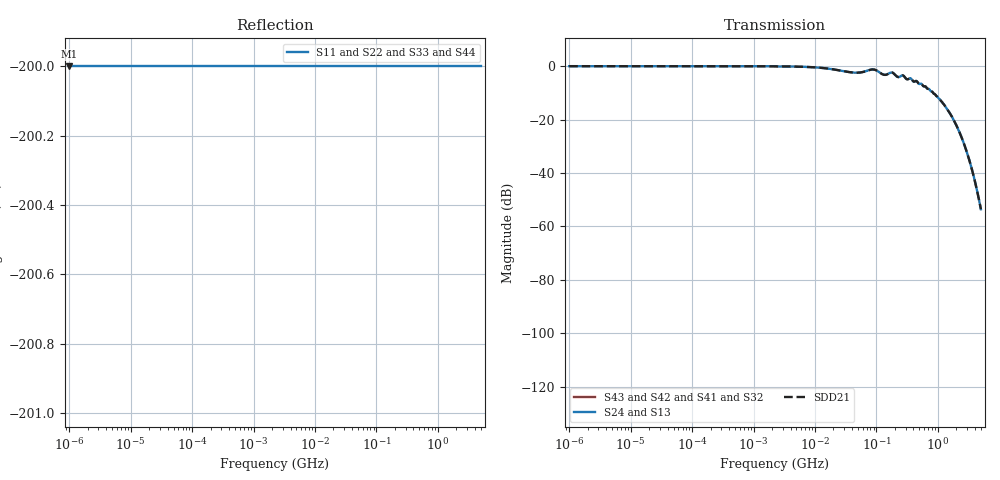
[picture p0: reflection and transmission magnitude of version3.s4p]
! Generated from input.csv
! Topology=single_ended_pair; reciprocal=False; diag_epsilon=0.0
# Hz S RI R 50
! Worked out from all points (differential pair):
!   500 points, 1 kHz to 5 GHz, reference 50 ohm
!   strongest paths, dB at 1 kHz, 47.65 kHz, 2.271 MHz, 108.2 MHz, 5 GHz:
!     S24: 0.0, 0.0, -0.1, -2.1, -53.6
!     S13: 0.0, 0.0, -0.1, -2.1, -53.6
!     S43: -, -, -, -, -
!     S42: -, -, -, -, -
!     S41: -, -, -, -, -
!     S32: -, -, -, -, -
!   taken as a pair (ports 4,3 in; 2,1 out), SDD21 dB: 0.0, 0.0, -0.1, -2.1, -53.6
!   lowest |S11| = - dB at 1 kHz (marker M1), VSWR 1.00, Z = 50 + j0 ohm
!   |S11| at or under -10 dB: start of sweep to end of sweep
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1000  0 0  0 0  1 0  0 0
      0 0  0 0  0 0  1 0
      0 0  0 0  0 0  0 0
      0 0  0 0  0 0  0 0
5231990  0 0  0 0  0.9803 0  0 0
         0 0  0 0  0 0  0.9803 0
         0 0  0 0  0 0  0 0
         0 0  0 0  0 0  0 0
2.73552e8  0 0  0 0  0.6655 0  0 0
           0 0  0 0  0 0  0.6655 0
           0 0  0 0  0 0  0 0
           0 0  0 0  0 0  0 0
7.58679e8  0 0  0 0  0.3424 0  0 0
           0 0  0 0  0 0  0.3424 0
           0 0  0 0  0 0  0 0
           0 0  0 0  0 0  0 0
1.59314e9  0 0  0 0  0.1269 0  0 0
           0 0  0 0  0 0  0.1269 0
           0 0  0 0  0 0  0 0
           0 0  0 0  0 0  0 0
2.86631e9  0 0  0 0  0.0273 0  0 0
           0 0  0 0  0 0  0.0273 0
           0 0  0 0  0 0  0 0
           0 0  0 0  0 0  0 0
5e9  0 0  0 0  0.0021 0  0 0
     0 0  0 0  0 0  0.0021 0
     0 0  0 0  0 0  0 0
     0 0  0 0  0 0  0 0
